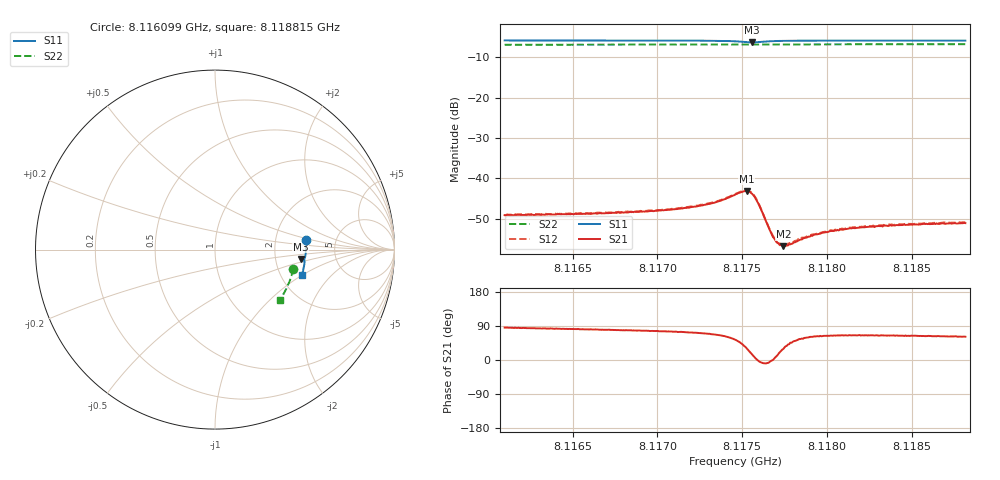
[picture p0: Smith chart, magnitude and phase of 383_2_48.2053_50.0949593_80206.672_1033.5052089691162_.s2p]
#  HZ  S  RI  R  50.00
! Rohde & Schwarz Vector Network Analyzer
! Rohde-Schwarz,ZNB20-2Port,1311601062101988,3.16
! Created: UTC 3/20/2024, 11:53:12 AM
! freq[Hz]  re:S11  im:S11  re:S21  im:S21  re:S12  im:S12  re:S22  im:S22
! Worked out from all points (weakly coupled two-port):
!   401 points, 8.116099 GHz to 8.118815 GHz, reference 50 ohm
!   highest |S21| = -43.11 dB at 8.117525 GHz (marker M1); lowest = -56.7 dB at 8.117742 GHz (marker M2)
!   lowest |S11| = -6.4 dB at 8.117559 GHz (marker M3), VSWR 2.85, Z = 139 - j18.9 ohm
!   |S11| at or under -10 dB: nowhere
!   |S22| runs from -7.0 to -6.8 dB; largest |S21 - S12| = 0.00018
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8.1160995e9  0.5047 0.0509  0.000269 0.00351  0.000312 0.00351  0.4359 -0.1079
8.1165543e9  0.5063 0.0166  0.000556 0.00362  0.000644 0.00362  0.4282 -0.1386
8.1170091e9  0.5054 -0.0187  0.000986 0.00391  0.001 0.00392  0.4187 -0.1688
8.1171788e9  0.5038 -0.0326  0.00127 0.00417  0.00138 0.00422  0.4145 -0.1798
8.1172807e9  0.5021 -0.0415  0.00161 0.00445  0.0017 0.00452  0.4118 -0.1866
8.1173621e9  0.4995 -0.0495  0.00216 0.00476  0.00224 0.00482  0.4094 -0.1917
8.1174571e9  0.492 -0.059  0.00372 0.00506  0.00386 0.00514  0.4064 -0.1979
8.1174979e9  0.4854 -0.0609  0.00502 0.0046  0.00518 0.00463  0.4052 -0.2005
8.117525e9  0.4801 -0.0588  0.00599 0.00361  0.0061 0.00365  0.404 -0.202
8.117559e9  0.4774 -0.0521  0.00624 0.00154  0.00639 0.00153  0.4031 -0.2037
8.1175725e9  0.4784 -0.0492  0.00588 0.000737  0.00601 0.000708  0.403 -0.2044
8.1175929e9  0.4818 -0.046  0.00497 -0.000123  0.00506 -0.000191  0.4025 -0.2055
8.1176608e9  0.4933 -0.0487  0.00233 -0.000215  0.00236 -0.000245  0.401 -0.2098
8.1176879e9  0.4958 -0.052  0.00182 0.000114  0.00185 9.88e-05  0.4002 -0.2117
8.1177151e9  0.4972 -0.0553  0.00148 0.00047  0.00152 0.000435  0.3996 -0.2135
8.1177423e9  0.4981 -0.0583  0.00127 0.000712  0.00131 0.000722  0.3988 -0.2154
8.117783e9  0.4987 -0.0629  0.00107 0.0011  0.0012 0.00109  0.3974 -0.2177
8.117912e9  0.4987 -0.0752  0.000944 0.0017  0.000971 0.00178  0.3934 -0.2261
8.1180138e9  0.4977 -0.0837  0.000982 0.00199  0.000994 0.00203  0.3901 -0.2323
8.118136e9  0.4961 -0.0935  0.00101 0.0022  0.00105 0.00224  0.386 -0.24
8.1183668e9  0.4925 -0.1111  0.00113 0.00235  0.00117 0.00243  0.3778 -0.254
8.1188148e9  0.4835 -0.1438  0.00134 0.00246  0.0014 0.00251  0.3602 -0.28
